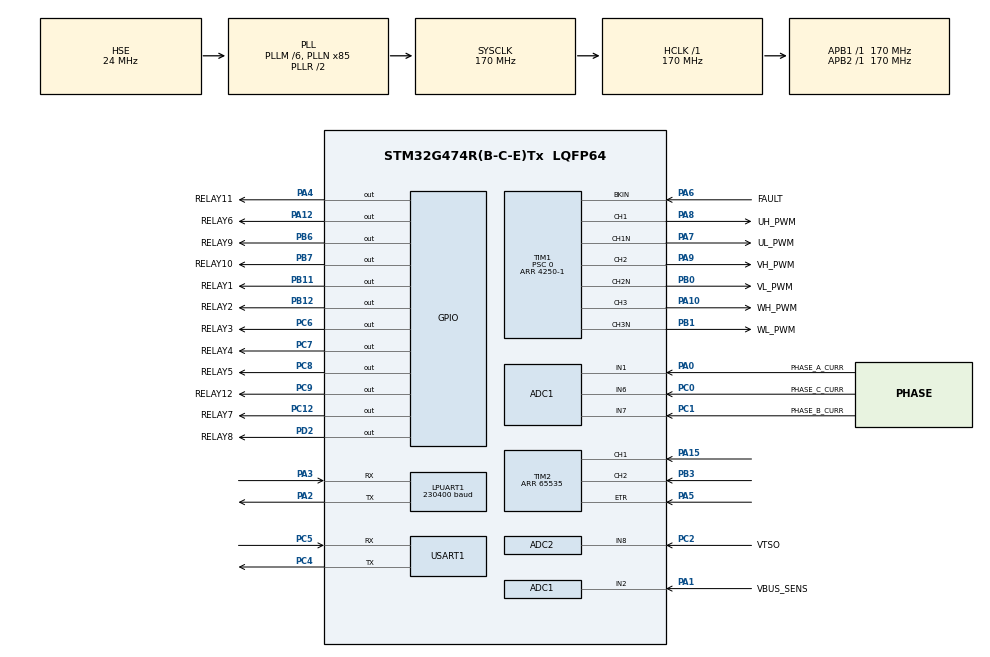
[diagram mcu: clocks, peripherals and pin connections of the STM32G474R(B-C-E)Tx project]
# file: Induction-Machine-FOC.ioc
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ADC1.EOCSelection=ADC_EOC_SEQ_CONV
ADC1.EnableInjectedConversion=ENABLE
ADC1.EnableRegularConversion=DISABLE
ADC1.ExternalTrigInjecConv=ADC_EXTERNALTRIGINJEC_T1_CC4
ADC1.ExternalTrigInjecConvEdge=ADC_EXTERNALTRIGINJECCONV_EDGE_FALLING
ADC1.InjNumberOfConversion=4
ADC1.InjectedChannel-6\#ChannelInjectedConversion=ADC_CHANNEL_1
ADC1.InjectedChannel-7\#ChannelInjectedConversion=ADC_CHANNEL_7
ADC1.InjectedChannel-8\#ChannelInjectedConversion=ADC_CHANNEL_6
ADC1.InjectedChannel-9\#ChannelInjectedConversion=ADC_CHANNEL_2
ADC1.InjectedOffsetNumber-6\#ChannelInjectedConversion=ADC_OFFSET_NONE
ADC1.InjectedOffsetNumber-7\#ChannelInjectedConversion=ADC_OFFSET_NONE
ADC1.InjectedOffsetNumber-8\#ChannelInjectedConversion=ADC_OFFSET_NONE
ADC1.InjectedOffsetNumber-9\#ChannelInjectedConversion=ADC_OFFSET_NONE
ADC1.InjectedRank-6\#ChannelInjectedConversion=1
ADC1.InjectedRank-7\#ChannelInjectedConversion=2
ADC1.InjectedRank-8\#ChannelInjectedConversion=3
ADC1.InjectedRank-9\#ChannelInjectedConversion=4
ADC1.InjectedSamplingTime-6\#ChannelInjectedConversion=ADC_SAMPLETIME_12CYCLES_5
ADC1.InjectedSamplingTime-7\#ChannelInjectedConversion=ADC_SAMPLETIME_12CYCLES_5
ADC1.InjectedSamplingTime-8\#ChannelInjectedConversion=ADC_SAMPLETIME_12CYCLES_5
ADC1.InjectedSamplingTime-9\#ChannelInjectedConversion=ADC_SAMPLETIME_12CYCLES_5
ADC1.Rank1_Channel=ADC_CHANNEL_1
ADC1.Rank2_Channel=ADC_CHANNEL_7
ADC1.Rank3_Channel=ADC_CHANNEL_6
ADC1.Rank4_Channel=ADC_CHANNEL_2
ADC1.master=1
ADC2.Channel-9\#ChannelRegularConversion=ADC_CHANNEL_8
ADC2.EOCSelection=ADC_EOC_SINGLE_CONV
ADC2.NbrOfConversionFlag=1
ADC2.OffsetNumber-9\#ChannelRegularConversion=ADC_OFFSET_NONE
ADC2.Overrun=ADC_OVR_DATA_OVERWRITTEN
ADC2.Rank-9\#ChannelRegularConversion=1
ADC2.SamplingTime-9\#ChannelRegularConversion=ADC_SAMPLETIME_640CYCLES_5
Dma.LPUART1_RX.0.Direction=DMA_PERIPH_TO_MEMORY
Dma.LPUART1_RX.0.EventEnable=DISABLE
Dma.LPUART1_RX.0.Instance=DMA1_Channel1
Dma.LPUART1_RX.0.MemDataAlignment=DMA_MDATAALIGN_BYTE
Dma.LPUART1_RX.0.MemInc=DMA_MINC_ENABLE
Dma.LPUART1_RX.0.Mode=DMA_CIRCULAR
Dma.LPUART1_RX.0.PeriphDataAlignment=DMA_PDATAALIGN_BYTE
Dma.LPUART1_RX.0.PeriphInc=DMA_PINC_DISABLE
Dma.LPUART1_RX.0.Polarity=HAL_DMAMUX_REQ_GEN_RISING
Dma.LPUART1_RX.0.Priority=DMA_PRIORITY_LOW
Dma.LPUART1_RX.0.RequestNumber=1
Dma.LPUART1_RX.0.SignalID=NONE
Dma.LPUART1_RX.0.SyncEnable=DISABLE
Dma.LPUART1_RX.0.SyncPolarity=HAL_DMAMUX_SYNC_NO_EVENT
Dma.LPUART1_RX.0.SyncRequestNumber=1
Dma.LPUART1_RX.0.SyncSignalID=NONE
Dma.LPUART1_TX.1.Direction=DMA_MEMORY_TO_PERIPH
Dma.LPUART1_TX.1.EventEnable=DISABLE
Dma.LPUART1_TX.1.Instance=DMA1_Channel2
Dma.LPUART1_TX.1.MemDataAlignment=DMA_MDATAALIGN_BYTE
Dma.LPUART1_TX.1.MemInc=DMA_MINC_ENABLE
Dma.LPUART1_TX.1.Mode=DMA_NORMAL
Dma.LPUART1_TX.1.PeriphDataAlignment=DMA_PDATAALIGN_BYTE
Dma.LPUART1_TX.1.PeriphInc=DMA_PINC_DISABLE
Dma.LPUART1_TX.1.Polarity=HAL_DMAMUX_REQ_GEN_RISING
Dma.LPUART1_TX.1.Priority=DMA_PRIORITY_LOW
Dma.LPUART1_TX.1.RequestNumber=1
Dma.LPUART1_TX.1.SignalID=NONE
Dma.LPUART1_TX.1.SyncEnable=DISABLE
Dma.LPUART1_TX.1.SyncPolarity=HAL_DMAMUX_SYNC_NO_EVENT
Dma.LPUART1_TX.1.SyncRequestNumber=1
Dma.LPUART1_TX.1.SyncSignalID=NONE
Dma.Request0=LPUART1_RX
Dma.Request1=LPUART1_TX
LPUART1.BaudRate=230400
Mcu.Family=STM32G4
Mcu.Name=STM32G474R(B-C-E)Tx
Mcu.Package=LQFP64
NVIC.ADC1_2_IRQn=true\:0\:0\:true\:false\:true\:true\:true\:true
NVIC.DMA1_Channel1_IRQn=true\:3\:0\:true\:false\:true\:false\:true\:true
NVIC.DMA1_Channel2_IRQn=true\:3\:0\:true\:false\:true\:false\:true\:true
NVIC.LPUART1_IRQn=true\:2\:0\:true\:false\:true\:true\:true\:true
NVIC.PriorityGroup=NVIC_PRIORITYGROUP_4
NVIC.RCC_IRQn=true\:0\:0\:false\:false\:true\:true\:false\:true
PA0.GPIO_Label=PHASE_A_CURR
PA0.Mode=IN1-Single-Ended
PA0.Signal=ADC1_IN1
PA1.GPIO_Label=VBUS_SENS
PA1.Mode=IN2-Single-Ended
PA1.Signal=ADC1_IN2
PA10.GPIO_Label=WH_PWM
PA10.Signal=S_TIM1_CH3
PA12.GPIO_Label=RELAY6
PA12.Signal=GPIO_Output
PA13.Mode=Serial_Wire
PA13.Signal=SYS_JTMS-SWDIO
PA14.Mode=Serial_Wire
PA14.Signal=SYS_JTCK-SWCLK
PA15.Signal=S_TIM2_CH1
PA2.Mode=Asynchronous
PA2.Signal=LPUART1_TX
PA3.Mode=Asynchronous
PA3.Signal=LPUART1_RX
PA4.GPIO_Label=RELAY11
PA4.Signal=GPIO_Output
PA5.Signal=S_TIM2_ETR
PA6.GPIO_Label=FAULT
PA6.GPIO_PuPd=GPIO_NOPULL
PA6.Mode=Activate-Break-Input
PA6.Signal=TIM1_BKIN
PA7.GPIO_Label=UL_PWM
PA7.Mode=PWM Generation1 CH1 CH1N
PA7.Signal=TIM1_CH1N
PA8.GPIO_Label=UH_PWM
PA8.Signal=S_TIM1_CH1
PA9.GPIO_Label=VH_PWM
PA9.Signal=S_TIM1_CH2
PB0.GPIO_Label=VL_PWM
PB0.Mode=PWM Generation2 CH2 CH2N
PB0.Signal=TIM1_CH2N
PB1.GPIO_Label=WL_PWM
PB1.Mode=PWM Generation3 CH3 CH3N
PB1.Signal=TIM1_CH3N
PB11.GPIO_Label=RELAY1
PB11.Signal=GPIO_Output
PB12.GPIO_Label=RELAY2
PB12.Signal=GPIO_Output
PB3.Signal=S_TIM2_CH2
PB6.GPIO_Label=RELAY9
PB6.Signal=GPIO_Output
PB7.GPIO_Label=RELAY10
PB7.Signal=GPIO_Output
PC0.GPIO_Label=PHASE_C_CURR
PC0.Mode=IN6-Single-Ended
PC0.Signal=ADC1_IN6
PC1.GPIO_Label=PHASE_B_CURR
PC1.Mode=IN7-Single-Ended
PC1.Signal=ADC1_IN7
PC12.GPIO_Label=RELAY7
PC12.Signal=GPIO_Output
PC2.GPIO_Label=VTSO
PC2.Mode=IN8-Single-Ended
PC2.Signal=ADC2_IN8
PC4.Mode=Asynchronous
PC4.Signal=USART1_TX
PC5.Mode=Asynchronous
PC5.Signal=USART1_RX
PC6.GPIO_Label=RELAY3
PC6.Signal=GPIO_Output
PC7.GPIO_Label=RELAY4
PC7.Signal=GPIO_Output
PC8.GPIO_Label=RELAY5
PC8.Signal=GPIO_Output
PC9.GPIO_Label=RELAY12
PC9.Signal=GPIO_Output
PD2.GPIO_Label=RELAY8
PD2.Signal=GPIO_Output
PF0-OSC_IN.Mode=HSE-External-Oscillator
PF0-OSC_IN.Signal=RCC_OSC_IN
PF1-OSC_OUT.Mode=HSE-External-Oscillator
PF1-OSC_OUT.Signal=RCC_OSC_OUT
ProjectManager.HeapSize=0x800
ProjectManager.StackSize=0x800
ProjectManager.TargetToolchain=CMake
RCC.ADC12Freq_Value=170000000
RCC.ADC345Freq_Value=170000000
RCC.AHBFreq_Value=170000000
RCC.APB1Freq_Value=170000000
RCC.APB1TimFreq_Value=170000000
RCC.APB2Freq_Value=170000000
RCC.APB2TimFreq_Value=170000000
RCC.CortexFreq_Value=170000000
RCC.EXTERNAL_CLOCK_VALUE=12288000
RCC.HCLKFreq_Value=170000000
RCC.HSE_VALUE=24000000
RCC.HSI48_VALUE=48000000
RCC.HSI_VALUE=16000000
RCC.LSE_VALUE=32768
RCC.PLLM=RCC_PLLM_DIV6
RCC.PLLN=85
RCC.PLLSourceVirtual=RCC_PLLSOURCE_HSE
RCC.RTCClockSelection=RCC_RTCCLKSOURCE_LSE
RCC.SYSCLKFreq_VALUE=170000000
RCC.SYSCLKSource=RCC_SYSCLKSOURCE_PLLCLK
RCC.USBFreq_Value=170000000
RCC.VCOOutputFreq_Value=340000000
SH.S_TIM1_CH1.0=TIM1_CH1,PWM Generation1 CH1 CH1N
SH.S_TIM1_CH2.0=TIM1_CH2,PWM Generation2 CH2 CH2N
SH.S_TIM1_CH3.0=TIM1_CH3,PWM Generation3 CH3 CH3N
SH.S_TIM2_CH1.0=TIM2_CH1,Encoder_Interface_w_index
SH.S_TIM2_CH2.0=TIM2_CH2,Encoder_Interface_w_index
SH.S_TIM2_ETR.0=TIM2_ETR,Encoder_Interface_w_index
STMicroelectronics.X-CUBE-AI.10.2.0.ActivationBufferSizeList=96
STMicroelectronics.X-CUBE-AI.10.2.0.ActivationBuffers=pool0
STMicroelectronics.X-CUBE-AI.10.2.0.ActivationNames=pool0
STMicroelectronics.X-CUBE-AI.10.2.0.ActivationSizes=AI_NETWORK_DATA_ACTIVATION_1_SIZE
STMicroelectronics.X-CUBE-AI.10.2.0.HeapSize=0x800
STMicroelectronics.X-CUBE-AI.10.2.0.InternalRamActivationBufferMaxSize=AI_NETWORK_DATA_ACTIVATIONS_SIZE
STMicroelectronics.X-CUBE-AI.10.2.0.LatestDirectoryUsed-ccd53641f8c50d33f3059c08e2cf8716ae3973f53e2ebd25febcf8b3750a0de1=/home/vardan/Projects/Polytech/Induction-Machine-NNPC/scripts/python/NN-Training/model
STMicroelectronics.X-CUBE-AI.10.2.0.MaximumNumberOfInputLayer=1
STMicroelectronics.X-CUBE-AI.10.2.0.MaximumNumberOfOutputLayer=1
STMicroelectronics.X-CUBE-AI.10.2.0.MaximumSizeOfInputLayer=1
STMicroelectronics.X-CUBE-AI.10.2.0.MaximumSizeOfOutputLayer=1
STMicroelectronics.X-CUBE-AI.10.2.0.ModelActualCompression-ccd53641f8c50d33f3059c08e2cf8716ae3973f53e2ebd25febcf8b3750a0de1=0.0
STMicroelectronics.X-CUBE-AI.10.2.0.ModelCompression-ccd53641f8c50d33f3059c08e2cf8716ae3973f53e2ebd25febcf8b3750a0de1=None
STMicroelectronics.X-CUBE-AI.10.2.0.ModelFlashOccupation-ccd53641f8c50d33f3059c08e2cf8716ae3973f53e2ebd25febcf8b3750a0de1=900
STMicroelectronics.X-CUBE-AI.10.2.0.ModelHashList=ccd53641f8c50d33f3059c08e2cf8716ae3973f53e2ebd25febcf8b3750a0de1
STMicroelectronics.X-CUBE-AI.10.2.0.ModelKind-ccd53641f8c50d33f3059c08e2cf8716ae3973f53e2ebd25febcf8b3750a0de1=TFLITE
STMicroelectronics.X-CUBE-AI.10.2.0.ModelMacc-ccd53641f8c50d33f3059c08e2cf8716ae3973f53e2ebd25febcf8b3750a0de1=465
STMicroelectronics.X-CUBE-AI.10.2.0.ModelName-ccd53641f8c50d33f3059c08e2cf8716ae3973f53e2ebd25febcf8b3750a0de1=network
STMicroelectronics.X-CUBE-AI.10.2.0.ModelNameList=network
STMicroelectronics.X-CUBE-AI.10.2.0.ModelRamOccupation-ccd53641f8c50d33f3059c08e2cf8716ae3973f53e2ebd25febcf8b3750a0de1=96
STMicroelectronics.X-CUBE-AI.10.2.0.ModelStructureFile-ccd53641f8c50d33f3059c08e2cf8716ae3973f53e2ebd25febcf8b3750a0de1=/home/vardan/Projects/Polytech/Induction-Machine-NNPC/scripts/python/NN-Training/model/iq_ff_float32.tflite
STMicroelectronics.X-CUBE-AI.10.2.0.ModelType-ccd53641f8c50d33f3059c08e2cf8716ae3973f53e2ebd25febcf8b3750a0de1=STM32Cube.AI MCU runtime
STMicroelectronics.X-CUBE-AI.10.2.0.ReadyForCodeGeneration=true
STMicroelectronics.X-CUBE-AI.10.2.0.StackSize=0x800
STMicroelectronics.X-CUBE-AI.10.2.0.WorkingBufferStartAddrList=0xFFFFFFFF
STMicroelectronics.X-CUBE-AI.10.2.0.XAaCUBEAaAICcArtificialOoIntelligenceJjCore=true
STMicroelectronics.X-CUBE-AI.10.2.0.copyWeightToRam=false
STMicroelectronics.X-CUBE-AI.10.2.0.copyWeightToRam-ccd53641f8c50d33f3059c08e2cf8716ae3973f53e2ebd25febcf8b3750a0de1=false
STMicroelectronics.X-CUBE-AI.10.2.0.customLayerConfigEnabled=false
STMicroelectronics.X-CUBE-AI.10.2.0.customLayerConfigEnabled-ccd53641f8c50d33f3059c08e2cf8716ae3973f53e2ebd25febcf8b3750a0de1=false
STMicroelectronics.X-CUBE-AI.10.2.0.noOnnxIoTranspose=false
STMicroelectronics.X-CUBE-AI.10.2.0.noOnnxIoTranspose-ccd53641f8c50d33f3059c08e2cf8716ae3973f53e2ebd25febcf8b3750a0de1=false
STMicroelectronics.X-CUBE-AI.10.2.0.optimization-ccd53641f8c50d33f3059c08e2cf8716ae3973f53e2ebd25febcf8b3750a0de1=time
STMicroelectronics.X-CUBE-AI.10.2.0.useInputAllocation=true
STMicroelectronics.X-CUBE-AI.10.2.0.useInputAllocation-ccd53641f8c50d33f3059c08e2cf8716ae3973f53e2ebd25febcf8b3750a0de1=true
STMicroelectronics.X-CUBE-AI.10.2.0.useOutputAllocation=true
STMicroelectronics.X-CUBE-AI.10.2.0.useOutputAllocation-ccd53641f8c50d33f3059c08e2cf8716ae3973f53e2ebd25febcf8b3750a0de1=true
TIM1.AutoReloadPreload=TIM_AUTORELOAD_PRELOAD_ENABLE
TIM1.AutomaticOutput=TIM_AUTOMATICOUTPUT_DISABLE
TIM1.BreakFilter=10
TIM1.BreakPolarity=TIM_BREAKPOLARITY_LOW
TIM1.BreakState=TIM_BREAK_ENABLE
TIM1.Channel-PWM\ Generation1\ CH1\ CH1N=TIM_CHANNEL_1
TIM1.Channel-PWM\ Generation2\ CH2\ CH2N=TIM_CHANNEL_2
TIM1.Channel-PWM\ Generation3\ CH3\ CH3N=TIM_CHANNEL_3
TIM1.Channel-PWM\ Generation4\ No\ Output=TIM_CHANNEL_4
TIM1.CounterMode=TIM_COUNTERMODE_CENTERALIGNED1
TIM1.DeadTime=160
TIM1.OCFastMode_PWM-PWM\ Generation1\ CH1\ CH1N=TIM_OCFAST_ENABLE
TIM1.OCFastMode_PWM-PWM\ Generation2\ CH2\ CH2N=TIM_OCFAST_ENABLE
TIM1.OCFastMode_PWM-PWM\ Generation3\ CH3\ CH3N=TIM_OCFAST_ENABLE
TIM1.OCFastMode_PWM-PWM\ Generation4\ No\ Output=TIM_OCFAST_ENABLE
TIM1.OCIdleState_2=TIM_OCIDLESTATE_RESET
TIM1.OCMode_PWM-PWM\ Generation4\ No\ Output=TIM_OCMODE_PWM1
TIM1.OCNIdleState_2=TIM_OCNIDLESTATE_RESET
TIM1.OffStateIDLEMode=TIM_OSSI_ENABLE
TIM1.OffStateRunMode=TIM_OSSR_ENABLE
TIM1.PeriodNoDither=4250-1
TIM1.Prescaler=0
TIM1.PulseNoDither_4=4248
TIM1.SourceBRKDigInput=TIM_BREAKINPUTSOURCE_ENABLE
TIM1.SourceBRKDigInputPolarity=TIM_BREAKINPUTSOURCE_POLARITY_HIGH
TIM1.TIM_MasterOutputTrigger=TIM_TRGO_OC4REF
TIM1.TIM_MasterSlaveMode=TIM_MASTERSLAVEMODE_DISABLE
TIM2.EncoderMode=TIM_ENCODERMODE_TI12
TIM2.IC1Filter=5
TIM2.IC2Filter=5
TIM2.IndexFilter=5
TIM2.IndexPosition=TIM_ENCODERINDEX_POSITION_11
TIM2.PeriodNoDither=65535
USART1.VirtualMode-Asynchronous=VM_ASYNC
VP_CORDIC_VS_CORDIC.Mode=CORDIC_Activate
VP_STMicroelectronics.X-CUBE-AI_VS_ArtificialOoIntelligenceJjXAaCUBEAaAI_10.2.0.Mode=ArtificialOoIntelligenceJjXAaCUBEAaAI
VP_SYS_VS_DBSignals.Mode=DisableDeadBatterySignals
VP_TIM1_VS_ClockSourceINT.Mode=Internal
VP_TIM1_VS_no_output4.Mode=PWM Generation4 No Output
board=NUCLEO-G474RE

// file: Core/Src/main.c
/* USER CODE BEGIN Header */
/**
  ******************************************************************************
  * @file           : main.c
  * @brief          : Main program body
  ******************************************************************************
  * @attention
  *
  * Copyright (c) 2026 STMicroelectronics.
  * All rights reserved.
  *
  * This software is licensed under terms that can be found in the LICENSE file
  * in the root directory of this software component.
  * If no LICENSE file comes with this software, it is provided AS-IS.
  *
  ******************************************************************************
  */
/* USER CODE END Header */
#include "main.h"

/* USER CODE BEGIN Includes */
#include "foc_control.h"
#include "stm32g474xx.h"
#include "stm32g4xx_hal.h"
#include "stm32g4xx_hal_adc.h"
#include "stm32g4xx_hal_adc_ex.h"
#include "stm32g4xx_hal_gpio.h"
#include "stm32g4xx_hal_uart.h"
#include "svpwm.h"
#include "encoder.h"
#include <stdio.h>
#include <string.h>
#include "foc_math.h"
#include "current_sense.h"
#include "serial_protocol.h"
#include "nn_iq_ff.h"
/* USER CODE END Includes */

/* USER CODE BEGIN PD */
#define DMA_BUFFER_SIZE  256
#define BUFF_LEN         DMA_BUFFER_SIZE

#define ADC_RESOLUTION   4095   // 2^12 - 1 for 12-bit ADC
#define VREF_MV          3300   // millivolts
#define ENCODER_PPR      2000U
#define MOTOR_POLE_PAIRS 2U
/* USER CODE END PD */

ADC_HandleTypeDef hadc1;
ADC_HandleTypeDef hadc2;

CORDIC_HandleTypeDef hcordic;

UART_HandleTypeDef hlpuart1;
UART_HandleTypeDef huart1;
DMA_HandleTypeDef hdma_lpuart1_rx;
DMA_HandleTypeDef hdma_lpuart1_tx;

TIM_HandleTypeDef htim1;
TIM_HandleTypeDef htim2;

/* USER CODE BEGIN PV */
const Motor_Parameters_t motor_params = {
    .Rs = 52.43f,         // Stator resistance (Ohms)
    .Rr = 45.4465f,       // Rotor resistance (Ohms)
    .Lm = 0.512f,         // Magnetizing inductance (H) — identified from no-load Vq test
    .Ls = 0.643f,         // Stator inductance (H) — solved from sigma_Ls=0.236 and Lm
    .Lr = 0.643f,         // Rotor inductance (H) — symmetric machine (Ls=Lr)
    .sigma_Ls = 0.236f,   // Transient inductance: (1 - Lm^2/(Ls*Lr)) * Ls — from short-circuit test
    .pole_pairs = 2,      // Number of pole pairs
    .Tr = 0.643f / 45.4465f, // Rotor time constant Lr/Rr = 14.1 ms (was 36ms with wrong Lr)
    .id_ref = 0.0f,       // Initial d-axis current reference (A)
    .iq_ref = 0.0f,       // Initial q-axis current reference (A)
    .id_max = 2.0f,       // Maximum d-axis current (A)
    .iq_max = 2.0f,       // Maximum q-axis current (A)
    .Ts = 1.0f / 20000.0f     // Control loop period (s)
};

Motor_Control_t motor_control = {0};

uint8_t run_foc_loop = 1; // Set to 0 to disable FOC during testing

/* Temperature Variable */
float temperature_VTSO = 0.0f;

/* Serial Protocol */
Proto_Handle_t proto = {0};
extern volatile float proto_speed_ref;
extern volatile float proto_id_ref;

Encoder_Handle_t encoder = {0};
CurSense_Data_t  currents = {0};

/* USER CODE END PV */

void SystemClock_Config(void);
static void MX_GPIO_Init(void);
static void MX_DMA_Init(void);
static void MX_CORDIC_Init(void);
static void MX_ADC1_Init(void);
static void MX_ADC2_Init(void);
static void MX_TIM2_Init(void);
static void MX_TIM1_Init(void);
static void MX_USART1_UART_Init(void);
static void MX_LPUART1_UART_Init(void);

/* USER CODE BEGIN 0 */
void send_telemetry(void) {
    /* Send telemetry at configured rate */
    if (proto.telem_divider > 0) {
        uint32_t now = HAL_GetTick();
        if (now - proto.telem_last_ms >= proto.telem_divider) {
            proto.telem_last_ms = now;
            Telemetry_Packet_t telem;
            telem.timestamp_ms = HAL_GetTick();
            if (run_foc_loop) {
                telem.id       = motor_control.i_dq.d;
                telem.iq       = motor_control.i_dq.q;
                telem.omega_m  = motor_control.omega_m;
                telem.ia       = currents.Ia;
                telem.ib       = currents.Ib;
                telem.ic       = currents.Ic;
                telem.theta_e     = motor_control.theta_e;
                telem.torque_e    = motor_control.torque_e;
                telem.imr         = motor_control.imr;
                telem.dwr_dt      = motor_control.dwr_dt;
                telem.iq_I_term   = motor_control.speed_controller.integral;
            } else {
                telem.id = telem.iq = 0.0f;
                telem.omega_m = 0.0f;
                telem.ia = telem.ib = telem.ic = 0.0f;
                telem.theta_e = telem.torque_e = 0.0f;
                telem.imr = telem.dwr_dt = 0.0f;
                telem.iq_I_term = 0.0f;
            }
            telem.vbus = currents.Vbus;
            Proto_SendTelemetry(&proto, &telem);
       }
    }
}

void PWM_START(void)
{
    HAL_TIM_PWM_Start(&htim1, TIM_CHANNEL_1 );
    HAL_TIM_PWM_Start(&htim1, TIM_CHANNEL_2 );
    HAL_TIM_PWM_Start(&htim1, TIM_CHANNEL_3 );
    // Complementary PWM outputs (REQUIRED for 3-phase inverter)
    HAL_TIMEx_PWMN_Start(&htim1, TIM_CHANNEL_1);  // CH1N (UL_PWM on PA7)
    HAL_TIMEx_PWMN_Start(&htim1, TIM_CHANNEL_2);  // CH2N (VL_PWM on PB0)
    HAL_TIMEx_PWMN_Start(&htim1, TIM_CHANNEL_3);  // CH3N (WL_PWM on PB1)

    HAL_TIM_PWM_Start(&htim1, TIM_CHANNEL_4 );
}

void PWM_STOP(void)
{
    HAL_TIM_PWM_Stop(&htim1, TIM_CHANNEL_1);
    HAL_TIM_PWM_Stop(&htim1, TIM_CHANNEL_2);
    HAL_TIM_PWM_Stop(&htim1, TIM_CHANNEL_3);

    HAL_TIMEx_PWMN_Stop(&htim1, TIM_CHANNEL_1);  // CH1N
    HAL_TIMEx_PWMN_Stop(&htim1, TIM_CHANNEL_2);  // CH2N
    HAL_TIMEx_PWMN_Stop(&htim1, TIM_CHANNEL_3);  // CH3N
}

float ADC_Measure_VTSO(void) {
    HAL_ADC_Start(&hadc2);
    if (HAL_ADC_PollForConversion(&hadc2, 200) == HAL_OK) {
        uint16_t adc_value = HAL_ADC_GetValue(&hadc2);
        // Calculate Voltage: V = (ADC / 4095) * 3.3V
        uint16_t voltage_mv = (adc_value * 3300) / 4095;

        // Calculate Temperature from Graph (Typ line):
        // y = kx + b; where k = 18.666666667f, b = 700 (mV at 0°C)
        temperature_VTSO = (voltage_mv - 700) / 18.666666667f; // in °C
    }
    //HAL_ADC_Stop(&hadc2);

    return temperature_VTSO;
}

void lock_test_current_sign_verification(void) {
    // Stop the FOC loop so it doesn't overwrite our voltage command
    run_foc_loop = 0;

    // Enable ADC IT so `currents` struct is continuously updated by the callback
    HAL_ADCEx_InjectedStart_IT(&hadc1);

    // Safety check: Don't apply high voltage.
    // Just 2 volts or a small fraction of your bus voltage
    float test_voltage = 20.0f;

    // Print values for 5 seconds
    for (int i = 0; i < 50; i++) {
        // Apply fixed voltage at 0 degrees.
        // This causes current to flow INTO Phase A (+), and OUT of Phase B (-) and C (-)
        open_loop_voltage_control(test_voltage, 0.0f, 0.0f);

        char buf[128];
        int len = snprintf(buf, sizeof(buf), "%.1f,%.3f,%.3f,%.3f\r\n", // voltage, Ia, Ib, Ic
                           test_voltage, currents.Ia, currents.Ib, currents.Ic);
        HAL_UART_Transmit(&hlpuart1, (uint8_t*)buf, len, HAL_MAX_DELAY);

        HAL_Delay(100);
    }

    // Stop generating voltage
    open_loop_voltage_control(0.0f, 0.0f, 0.0f);
    HAL_ADCEx_InjectedStop_IT(&hadc1);
    run_foc_loop = 0; // Re-enable FOC logic for normal operation later
}

/* USER CODE END 0 */

int main(void)
{

  /* MCU Configuration--------------------------------------------------------*/

  /* Reset of all peripherals, Initializes the Flash interface and the Systick. */
  HAL_Init();

  /* Configure the system clock */
  SystemClock_Config();

  /* Initialize all configured peripherals */
  MX_GPIO_Init();
  MX_DMA_Init();
  MX_CORDIC_Init();
  MX_ADC1_Init();
  MX_ADC2_Init();
  MX_TIM2_Init();
  MX_TIM1_Init();
  MX_USART1_UART_Init();
  MX_LPUART1_UART_Init();
  /* USER CODE BEGIN 2 */
  SVPWM_Config_t svpwm_config = {
      .min_duty_window = 0.15f,  // 15% minimum duty for valid shunt
      .trigger_offset = 0.15f,   // 15% offset → ~510 ticks → ~2μs settling after dead-time
      .pwm_period_ticks = PWM_PERIOD_TICKS
  };
  SVPWM_Init(&svpwm_config);

  NN_IqFF_Init();   /* Must be before any NN_IqFF_Run() call */

  // HAL_GPIO_WritePin(GPIOC, GPIO_PIN_9, GPIO_PIN_SET);
  // float ff = NN_IqFF_Run(50, 52, 17, 0.49);
  // HAL_GPIO_WritePin(GPIOC, GPIO_PIN_9, GPIO_PIN_RESET);

  Encoder_Init(&encoder, &htim2, 2000);

  CurrentSense_Init();
  CurrentSense_Calibrate();

  HAL_ADCEx_InjectedStop(&hadc1);
  HAL_ADCEx_InjectedStart_IT(&hadc1);
  // HAL_ADC_Start_IT(&hadc2);
  Encoder_Start(&encoder);

  Motor_Init(&motor_params, &motor_control);

  // PWM_START();

  Proto_Init(&proto, &hlpuart1);
  Proto_StartReceive(&proto);

  /* Disable DMA RX half-transfer & transfer-complete interrupts — we poll */
  __HAL_DMA_DISABLE_IT(hlpuart1.hdmarx, DMA_IT_HT | DMA_IT_TC);

  // svpwm_test();
  // PWM_STOP();

  /* USER CODE END 2 */

  /* Infinite loop */
  while (1)
  {

    /* USER CODE BEGIN 3 */

    /* Poll DMA circular buffer for incoming protocol frames */
    Proto_Poll(&proto);

    /* Asynchronous NN feedforward — runs inference outside the ISR.
     * The FOC ISR copies 4 inputs and sets nn_pending_flag every 200 cycles;
     * we execute NN_IqFF_Run() here where the ~60 µs latency is harmless. */
    if (nn_pending_flag) {
        float w   = nn_input_omega_m;
        float wr  = nn_input_omega_ref;
        float dw  = nn_input_dwr_dt;
        float im  = nn_input_imr;
        nn_pending_flag = 0U;

        float ff = NN_IqFF_Run(w, wr, dw, im);
        float iq_lim = motor_params.iq_max * 0.5f;
        if (ff >  iq_lim) ff =  iq_lim;
        if (ff < -iq_lim) ff = -iq_lim;
        motor_control.iq_ff = ff;
    }

    /* Temperature watchdog at 1 Hz (ADC2 polled, not interrupt-driven) */
    static uint32_t temp_last_ms = 0;
    uint32_t now_temp = HAL_GetTick();
    if (now_temp - temp_last_ms >= 1000U) {
        temp_last_ms = now_temp;
        if (ADC_Measure_VTSO() > 100.0f) {
            PWM_STOP();
        }
    }

    send_telemetry();

    // char buf [64];
    // int len =  sprintf(buf, "%.2f,%.2f, %.2f\r\n", currents.Ia, currents.Ib, currents.Ic);
    // HAL_UART_Transmit(&hlpuart1, (uint8_t*)buf, len, 1);

  }
  /* USER CODE END 3 */
}

void SystemClock_Config(void)
{
  RCC_OscInitTypeDef RCC_OscInitStruct = {0};
  RCC_ClkInitTypeDef RCC_ClkInitStruct = {0};

  /** Configure the main internal regulator output voltage
  */
  HAL_PWREx_ControlVoltageScaling(PWR_REGULATOR_VOLTAGE_SCALE1_BOOST);

  /** Initializes the RCC Oscillators according to the specified parameters
  * in the RCC_OscInitTypeDef structure.
  */
  RCC_OscInitStruct.OscillatorType = RCC_OSCILLATORTYPE_HSE;
  RCC_OscInitStruct.HSEState = RCC_HSE_ON;
  RCC_OscInitStruct.PLL.PLLState = RCC_PLL_ON;
  RCC_OscInitStruct.PLL.PLLSource = RCC_PLLSOURCE_HSE;
  RCC_OscInitStruct.PLL.PLLM = RCC_PLLM_DIV6;
  RCC_OscInitStruct.PLL.PLLN = 85;
  RCC_OscInitStruct.PLL.PLLP = RCC_PLLP_DIV2;
  RCC_OscInitStruct.PLL.PLLQ = RCC_PLLQ_DIV2;
  RCC_OscInitStruct.PLL.PLLR = RCC_PLLR_DIV2;
  if (HAL_RCC_OscConfig(&RCC_OscInitStruct) != HAL_OK)
  {
    Error_Handler();
  }

  /** Initializes the CPU, AHB and APB buses clocks
  */
  RCC_ClkInitStruct.ClockType = RCC_CLOCKTYPE_HCLK|RCC_CLOCKTYPE_SYSCLK
                              |RCC_CLOCKTYPE_PCLK1|RCC_CLOCKTYPE_PCLK2;
  RCC_ClkInitStruct.SYSCLKSource = RCC_SYSCLKSOURCE_PLLCLK;
  RCC_ClkInitStruct.AHBCLKDivider = RCC_SYSCLK_DIV1;
  RCC_ClkInitStruct.APB1CLKDivider = RCC_HCLK_DIV1;
  RCC_ClkInitStruct.APB2CLKDivider = RCC_HCLK_DIV1;

  if (HAL_RCC_ClockConfig(&RCC_ClkInitStruct, FLASH_LATENCY_4) != HAL_OK)
  {
    Error_Handler();
  }
}

static void MX_ADC1_Init(void)
{

  ADC_MultiModeTypeDef multimode = {0};
  ADC_InjectionConfTypeDef sConfigInjected = {0};

  /** Common config
  */
  hadc1.Instance = ADC1;
  hadc1.Init.ClockPrescaler = ADC_CLOCK_SYNC_PCLK_DIV4;
  hadc1.Init.Resolution = ADC_RESOLUTION_12B;
  hadc1.Init.DataAlign = ADC_DATAALIGN_RIGHT;
  hadc1.Init.GainCompensation = 0;
  hadc1.Init.ScanConvMode = ADC_SCAN_ENABLE;
  hadc1.Init.EOCSelection = ADC_EOC_SEQ_CONV;
  hadc1.Init.LowPowerAutoWait = DISABLE;
  hadc1.Init.ContinuousConvMode = DISABLE;
  hadc1.Init.NbrOfConversion = 1;
  hadc1.Init.DiscontinuousConvMode = DISABLE;
  hadc1.Init.DMAContinuousRequests = DISABLE;
  hadc1.Init.Overrun = ADC_OVR_DATA_PRESERVED;
  hadc1.Init.OversamplingMode = DISABLE;
  if (HAL_ADC_Init(&hadc1) != HAL_OK)
  {
    Error_Handler();
  }

  /** Configure the ADC multi-mode
  */
  multimode.Mode = ADC_MODE_INDEPENDENT;
  if (HAL_ADCEx_MultiModeConfigChannel(&hadc1, &multimode) != HAL_OK)
  {
    Error_Handler();
  }

  /** Configure Injected Channel
  */
  sConfigInjected.InjectedChannel = ADC_CHANNEL_1;
  sConfigInjected.InjectedRank = ADC_INJECTED_RANK_1;
  sConfigInjected.InjectedSamplingTime = ADC_SAMPLETIME_12CYCLES_5;
  sConfigInjected.InjectedSingleDiff = ADC_SINGLE_ENDED;
  sConfigInjected.InjectedOffsetNumber = ADC_OFFSET_NONE;
  sConfigInjected.InjectedOffset = 0;
  sConfigInjected.InjectedNbrOfConversion = 4;
  sConfigInjected.InjectedDiscontinuousConvMode = DISABLE;
  sConfigInjected.AutoInjectedConv = DISABLE;
  sConfigInjected.QueueInjectedContext = DISABLE;
  sConfigInjected.ExternalTrigInjecConv = ADC_EXTERNALTRIGINJEC_T1_CC4;
  sConfigInjected.ExternalTrigInjecConvEdge = ADC_EXTERNALTRIGINJECCONV_EDGE_FALLING;
  sConfigInjected.InjecOversamplingMode = DISABLE;
  if (HAL_ADCEx_InjectedConfigChannel(&hadc1, &sConfigInjected) != HAL_OK)
  {
    Error_Handler();
  }

  /** Configure Injected Channel
  */
  sConfigInjected.InjectedChannel = ADC_CHANNEL_7;
  sConfigInjected.InjectedRank = ADC_INJECTED_RANK_2;
  if (HAL_ADCEx_InjectedConfigChannel(&hadc1, &sConfigInjected) != HAL_OK)
  {
    Error_Handler();
  }

  /** Configure Injected Channel
  */
  sConfigInjected.InjectedChannel = ADC_CHANNEL_6;
  sConfigInjected.InjectedRank = ADC_INJECTED_RANK_3;
  if (HAL_ADCEx_InjectedConfigChannel(&hadc1, &sConfigInjected) != HAL_OK)
  {
    Error_Handler();
  }

  /** Configure Injected Channel
  */
  sConfigInjected.InjectedChannel = ADC_CHANNEL_2;
  sConfigInjected.InjectedRank = ADC_INJECTED_RANK_4;
  if (HAL_ADCEx_InjectedConfigChannel(&hadc1, &sConfigInjected) != HAL_OK)
  {
    Error_Handler();
  }

}

static void MX_ADC2_Init(void)
{

  ADC_ChannelConfTypeDef sConfig = {0};

  /** Common config
  */
  hadc2.Instance = ADC2;
  hadc2.Init.ClockPrescaler = ADC_CLOCK_SYNC_PCLK_DIV4;
  hadc2.Init.Resolution = ADC_RESOLUTION_12B;
  hadc2.Init.DataAlign = ADC_DATAALIGN_RIGHT;
  hadc2.Init.GainCompensation = 0;
  hadc2.Init.ScanConvMode = ADC_SCAN_DISABLE;
  hadc2.Init.EOCSelection = ADC_EOC_SINGLE_CONV;
  hadc2.Init.LowPowerAutoWait = DISABLE;
  hadc2.Init.ContinuousConvMode = DISABLE;
  hadc2.Init.NbrOfConversion = 1;
  hadc2.Init.DiscontinuousConvMode = DISABLE;
  hadc2.Init.ExternalTrigConv = ADC_SOFTWARE_START;
  hadc2.Init.ExternalTrigConvEdge = ADC_EXTERNALTRIGCONVEDGE_NONE;
  hadc2.Init.DMAContinuousRequests = DISABLE;
  hadc2.Init.Overrun = ADC_OVR_DATA_OVERWRITTEN;
  hadc2.Init.OversamplingMode = DISABLE;
  if (HAL_ADC_Init(&hadc2) != HAL_OK)
  {
    Error_Handler();
  }

  /** Configure Regular Channel
  */
  sConfig.Channel = ADC_CHANNEL_8;
  sConfig.Rank = ADC_REGULAR_RANK_1;
  sConfig.SamplingTime = ADC_SAMPLETIME_640CYCLES_5;
  sConfig.SingleDiff = ADC_SINGLE_ENDED;
  sConfig.OffsetNumber = ADC_OFFSET_NONE;
  sConfig.Offset = 0;
  if (HAL_ADC_ConfigChannel(&hadc2, &sConfig) != HAL_OK)
  {
    Error_Handler();
  }

}

static void MX_CORDIC_Init(void)
{

  hcordic.Instance = CORDIC;
  if (HAL_CORDIC_Init(&hcordic) != HAL_OK)
  {
    Error_Handler();
  }
  /* USER CODE BEGIN CORDIC_Init 2 */

  // Configure CORDIC for sine calculation (optimized for motor control)
  CORDIC_ConfigTypeDef sCordicConfig;
  sCordicConfig.Function = CORDIC_FUNCTION_SINE;      // Sine function
  sCordicConfig.Precision = CORDIC_PRECISION_6CYCLES; // 6 cycles = 24 iterations
  sCordicConfig.Scale = CORDIC_SCALE_0;               // No scaling
  sCordicConfig.NbWrite = CORDIC_NBWRITE_1;           // 1 input (angle only)
  sCordicConfig.NbRead = CORDIC_NBREAD_1;             // 1 output (sine only)
  sCordicConfig.InSize = CORDIC_INSIZE_32BITS;        // 32-bit input
  sCordicConfig.OutSize = CORDIC_OUTSIZE_32BITS;      // 32-bit output

  if (HAL_CORDIC_Configure(&hcordic, &sCordicConfig) != HAL_OK)
  {
    Error_Handler();
  }

  /* USER CODE END CORDIC_Init 2 */

}

static void MX_LPUART1_UART_Init(void)
{

  hlpuart1.Instance = LPUART1;
  hlpuart1.Init.BaudRate = 230400;
  hlpuart1.Init.WordLength = UART_WORDLENGTH_8B;
  hlpuart1.Init.StopBits = UART_STOPBITS_1;
  hlpuart1.Init.Parity = UART_PARITY_NONE;
  hlpuart1.Init.Mode = UART_MODE_TX_RX;
  hlpuart1.Init.HwFlowCtl = UART_HWCONTROL_NONE;
  hlpuart1.Init.OneBitSampling = UART_ONE_BIT_SAMPLE_DISABLE;
  hlpuart1.Init.ClockPrescaler = UART_PRESCALER_DIV1;
  hlpuart1.AdvancedInit.AdvFeatureInit = UART_ADVFEATURE_NO_INIT;
  if (HAL_UART_Init(&hlpuart1) != HAL_OK)
  {
    Error_Handler();
  }
  if (HAL_UARTEx_SetTxFifoThreshold(&hlpuart1, UART_TXFIFO_THRESHOLD_1_8) != HAL_OK)
  {
    Error_Handler();
  }
  if (HAL_UARTEx_SetRxFifoThreshold(&hlpuart1, UART_RXFIFO_THRESHOLD_1_8) != HAL_OK)
  {
    Error_Handler();
  }
  if (HAL_UARTEx_DisableFifoMode(&hlpuart1) != HAL_OK)
  {
    Error_Handler();
  }

}

static void MX_USART1_UART_Init(void)
{

  huart1.Instance = USART1;
  huart1.Init.BaudRate = 115200;
  huart1.Init.WordLength = UART_WORDLENGTH_8B;
  huart1.Init.StopBits = UART_STOPBITS_1;
  huart1.Init.Parity = UART_PARITY_NONE;
  huart1.Init.Mode = UART_MODE_TX_RX;
  huart1.Init.HwFlowCtl = UART_HWCONTROL_NONE;
  huart1.Init.OverSampling = UART_OVERSAMPLING_16;
  huart1.Init.OneBitSampling = UART_ONE_BIT_SAMPLE_DISABLE;
  huart1.Init.ClockPrescaler = UART_PRESCALER_DIV1;
  huart1.AdvancedInit.AdvFeatureInit = UART_ADVFEATURE_NO_INIT;
  if (HAL_UART_Init(&huart1) != HAL_OK)
  {
    Error_Handler();
  }
  if (HAL_UARTEx_SetTxFifoThreshold(&huart1, UART_TXFIFO_THRESHOLD_1_8) != HAL_OK)
  {
    Error_Handler();
  }
  if (HAL_UARTEx_SetRxFifoThreshold(&huart1, UART_RXFIFO_THRESHOLD_1_8) != HAL_OK)
  {
    Error_Handler();
  }
  if (HAL_UARTEx_DisableFifoMode(&huart1) != HAL_OK)
  {
    Error_Handler();
  }

}

static void MX_TIM1_Init(void)
{

  TIM_ClockConfigTypeDef sClockSourceConfig = {0};
  TIM_MasterConfigTypeDef sMasterConfig = {0};
  TIMEx_BreakInputConfigTypeDef sBreakInputConfig = {0};
  TIM_OC_InitTypeDef sConfigOC = {0};
  TIM_BreakDeadTimeConfigTypeDef sBreakDeadTimeConfig = {0};

  htim1.Instance = TIM1;
  htim1.Init.Prescaler = 0;
  htim1.Init.CounterMode = TIM_COUNTERMODE_CENTERALIGNED1;
  htim1.Init.Period = 4249;
  htim1.Init.ClockDivision = TIM_CLOCKDIVISION_DIV1;
  htim1.Init.RepetitionCounter = 0;
  htim1.Init.AutoReloadPreload = TIM_AUTORELOAD_PRELOAD_ENABLE;
  if (HAL_TIM_Base_Init(&htim1) != HAL_OK)
  {
    Error_Handler();
  }
  sClockSourceConfig.ClockSource = TIM_CLOCKSOURCE_INTERNAL;
  if (HAL_TIM_ConfigClockSource(&htim1, &sClockSourceConfig) != HAL_OK)
  {
    Error_Handler();
  }
  if (HAL_TIM_PWM_Init(&htim1) != HAL_OK)
  {
    Error_Handler();
  }
  sMasterConfig.MasterOutputTrigger = TIM_TRGO_OC4REF;
  sMasterConfig.MasterOutputTrigger2 = TIM_TRGO2_RESET;
  sMasterConfig.MasterSlaveMode = TIM_MASTERSLAVEMODE_DISABLE;
  if (HAL_TIMEx_MasterConfigSynchronization(&htim1, &sMasterConfig) != HAL_OK)
  {
    Error_Handler();
  }
  sBreakInputConfig.Source = TIM_BREAKINPUTSOURCE_BKIN;
  sBreakInputConfig.Enable = TIM_BREAKINPUTSOURCE_ENABLE;
  sBreakInputConfig.Polarity = TIM_BREAKINPUTSOURCE_POLARITY_HIGH;
  if (HAL_TIMEx_ConfigBreakInput(&htim1, TIM_BREAKINPUT_BRK, &sBreakInputConfig) != HAL_OK)
  {
    Error_Handler();
  }
  sConfigOC.OCMode = TIM_OCMODE_PWM1;
  sConfigOC.Pulse = 0;
  sConfigOC.OCPolarity = TIM_OCPOLARITY_HIGH;
  sConfigOC.OCNPolarity = TIM_OCNPOLARITY_HIGH;
  sConfigOC.OCFastMode = TIM_OCFAST_ENABLE;
  sConfigOC.OCIdleState = TIM_OCIDLESTATE_RESET;
  sConfigOC.OCNIdleState = TIM_OCNIDLESTATE_RESET;
  if (HAL_TIM_PWM_ConfigChannel(&htim1, &sConfigOC, TIM_CHANNEL_1) != HAL_OK)
  {
    Error_Handler();
  }
  if (HAL_TIM_PWM_ConfigChannel(&htim1, &sConfigOC, TIM_CHANNEL_2) != HAL_OK)
  {
    Error_Handler();
  }
  if (HAL_TIM_PWM_ConfigChannel(&htim1, &sConfigOC, TIM_CHANNEL_3) != HAL_OK)
  {
    Error_Handler();
  }
  sConfigOC.Pulse = 4248;
  if (HAL_TIM_PWM_ConfigChannel(&htim1, &sConfigOC, TIM_CHANNEL_4) != HAL_OK)
  {
    Error_Handler();
  }
  sBreakDeadTimeConfig.OffStateRunMode = TIM_OSSR_ENABLE;
  sBreakDeadTimeConfig.OffStateIDLEMode = TIM_OSSI_ENABLE;
  sBreakDeadTimeConfig.LockLevel = TIM_LOCKLEVEL_OFF;
  sBreakDeadTimeConfig.DeadTime = 160;
  sBreakDeadTimeConfig.BreakState = TIM_BREAK_ENABLE;
  sBreakDeadTimeConfig.BreakPolarity = TIM_BREAKPOLARITY_LOW;
  sBreakDeadTimeConfig.BreakFilter = 10;
  sBreakDeadTimeConfig.BreakAFMode = TIM_BREAK_AFMODE_INPUT;
  sBreakDeadTimeConfig.Break2State = TIM_BREAK2_DISABLE;
  sBreakDeadTimeConfig.Break2Polarity = TIM_BREAK2POLARITY_HIGH;
  sBreakDeadTimeConfig.Break2Filter = 0;
  sBreakDeadTimeConfig.Break2AFMode = TIM_BREAK_AFMODE_INPUT;
  sBreakDeadTimeConfig.AutomaticOutput = TIM_AUTOMATICOUTPUT_DISABLE;
  if (HAL_TIMEx_ConfigBreakDeadTime(&htim1, &sBreakDeadTimeConfig) != HAL_OK)
  {
    Error_Handler();
  }
  HAL_TIM_MspPostInit(&htim1);

}

static void MX_TIM2_Init(void)
{

  TIM_Encoder_InitTypeDef sConfig = {0};
  TIM_MasterConfigTypeDef sMasterConfig = {0};
  TIMEx_EncoderIndexConfigTypeDef sEncoderIndexConfig = {0};

  htim2.Instance = TIM2;
  htim2.Init.Prescaler = 0;
  htim2.Init.CounterMode = TIM_COUNTERMODE_UP;
  htim2.Init.Period = 65535;
  htim2.Init.ClockDivision = TIM_CLOCKDIVISION_DIV1;
  htim2.Init.AutoReloadPreload = TIM_AUTORELOAD_PRELOAD_DISABLE;
  sConfig.EncoderMode = TIM_ENCODERMODE_TI12;
  sConfig.IC1Polarity = TIM_ICPOLARITY_RISING;
  sConfig.IC1Selection = TIM_ICSELECTION_DIRECTTI;
  sConfig.IC1Prescaler = TIM_ICPSC_DIV1;
  sConfig.IC1Filter = 5;
  sConfig.IC2Polarity = TIM_ICPOLARITY_RISING;
  sConfig.IC2Selection = TIM_ICSELECTION_DIRECTTI;
  sConfig.IC2Prescaler = TIM_ICPSC_DIV1;
  sConfig.IC2Filter = 5;
  if (HAL_TIM_Encoder_Init(&htim2, &sConfig) != HAL_OK)
  {
    Error_Handler();
  }
  sMasterConfig.MasterOutputTrigger = TIM_TRGO_RESET;
  sMasterConfig.MasterSlaveMode = TIM_MASTERSLAVEMODE_DISABLE;
  if (HAL_TIMEx_MasterConfigSynchronization(&htim2, &sMasterConfig) != HAL_OK)
  {
    Error_Handler();
  }
  sEncoderIndexConfig.Polarity = TIM_ENCODERINDEX_POLARITY_NONINVERTED;
  sEncoderIndexConfig.Prescaler = TIM_ENCODERINDEX_PRESCALER_DIV1;
  sEncoderIndexConfig.Filter = 5;
  sEncoderIndexConfig.FirstIndexEnable = DISABLE;
  sEncoderIndexConfig.Position = TIM_ENCODERINDEX_POSITION_11;
  sEncoderIndexConfig.Direction = TIM_ENCODERINDEX_DIRECTION_UP_DOWN;
  if (HAL_TIMEx_ConfigEncoderIndex(&htim2, &sEncoderIndexConfig) != HAL_OK)
  {
    Error_Handler();
  }

}

static void MX_DMA_Init(void)
{

  /* DMA controller clock enable */
  __HAL_RCC_DMAMUX1_CLK_ENABLE();
  __HAL_RCC_DMA1_CLK_ENABLE();

  /* DMA interrupt init */
  /* DMA1_Channel1_IRQn interrupt configuration */
  HAL_NVIC_SetPriority(DMA1_Channel1_IRQn, 3, 0);
  HAL_NVIC_EnableIRQ(DMA1_Channel1_IRQn);
  /* DMA1_Channel2_IRQn interrupt configuration */
  HAL_NVIC_SetPriority(DMA1_Channel2_IRQn, 3, 0);
  HAL_NVIC_EnableIRQ(DMA1_Channel2_IRQn);

}

static void MX_GPIO_Init(void)
{
  GPIO_InitTypeDef GPIO_InitStruct = {0};

  /* GPIO Ports Clock Enable */
  __HAL_RCC_GPIOC_CLK_ENABLE();
  __HAL_RCC_GPIOF_CLK_ENABLE();
  __HAL_RCC_GPIOG_CLK_ENABLE();
  __HAL_RCC_GPIOA_CLK_ENABLE();
  __HAL_RCC_GPIOB_CLK_ENABLE();
  __HAL_RCC_GPIOD_CLK_ENABLE();

  /*Configure GPIO pin Output Level */
  HAL_GPIO_WritePin(GPIOA, RELAY11_Pin|RELAY6_Pin, GPIO_PIN_RESET);

  /*Configure GPIO pin Output Level */
  HAL_GPIO_WritePin(GPIOB, RELAY1_Pin|RELAY2_Pin|RELAY9_Pin|RELAY10_Pin, GPIO_PIN_RESET);

  /*Configure GPIO pin Output Level */
  HAL_GPIO_WritePin(GPIOC, RELAY3_Pin|RELAY4_Pin|RELAY5_Pin|RELAY12_Pin
                          |RELAY7_Pin, GPIO_PIN_RESET);

  /*Configure GPIO pin Output Level */
  HAL_GPIO_WritePin(RELAY8_GPIO_Port, RELAY8_Pin, GPIO_PIN_RESET);

  /*Configure GPIO pins : PC13 PC14 PC15 PC3
                           PC10 PC11 */
  GPIO_InitStruct.Pin = GPIO_PIN_13|GPIO_PIN_14|GPIO_PIN_15|GPIO_PIN_3
                          |GPIO_PIN_10|GPIO_PIN_11;
  GPIO_InitStruct.Mode = GPIO_MODE_ANALOG;
  GPIO_InitStruct.Pull = GPIO_NOPULL;
  HAL_GPIO_Init(GPIOC, &GPIO_InitStruct);

  /*Configure GPIO pin : PG10 */
  GPIO_InitStruct.Pin = GPIO_PIN_10;
  GPIO_InitStruct.Mode = GPIO_MODE_ANALOG;
  GPIO_InitStruct.Pull = GPIO_NOPULL;
  HAL_GPIO_Init(GPIOG, &GPIO_InitStruct);

  /*Configure GPIO pins : RELAY11_Pin RELAY6_Pin */
  GPIO_InitStruct.Pin = RELAY11_Pin|RELAY6_Pin;
  GPIO_InitStruct.Mode = GPIO_MODE_OUTPUT_PP;
  GPIO_InitStruct.Pull = GPIO_NOPULL;
  GPIO_InitStruct.Speed = GPIO_SPEED_FREQ_LOW;
  HAL_GPIO_Init(GPIOA, &GPIO_InitStruct);

  /*Configure GPIO pins : PB2 PB10 PB13 PB14
                           PB15 PB4 PB5 PB8
                           PB9 */
  GPIO_InitStruct.Pin = GPIO_PIN_2|GPIO_PIN_10|GPIO_PIN_13|GPIO_PIN_14
                          |GPIO_PIN_15|GPIO_PIN_4|GPIO_PIN_5|GPIO_PIN_8
                          |GPIO_PIN_9;
  GPIO_InitStruct.Mode = GPIO_MODE_ANALOG;
  GPIO_InitStruct.Pull = GPIO_NOPULL;
  HAL_GPIO_Init(GPIOB, &GPIO_InitStruct);

  /*Configure GPIO pins : RELAY1_Pin RELAY2_Pin RELAY9_Pin RELAY10_Pin */
  GPIO_InitStruct.Pin = RELAY1_Pin|RELAY2_Pin|RELAY9_Pin|RELAY10_Pin;
  GPIO_InitStruct.Mode = GPIO_MODE_OUTPUT_PP;
  GPIO_InitStruct.Pull = GPIO_NOPULL;
  GPIO_InitStruct.Speed = GPIO_SPEED_FREQ_LOW;
  HAL_GPIO_Init(GPIOB, &GPIO_InitStruct);

  /*Configure GPIO pins : RELAY3_Pin RELAY4_Pin RELAY5_Pin RELAY12_Pin
                           RELAY7_Pin */
  GPIO_InitStruct.Pin = RELAY3_Pin|RELAY4_Pin|RELAY5_Pin|RELAY12_Pin
                          |RELAY7_Pin;
  GPIO_InitStruct.Mode = GPIO_MODE_OUTPUT_PP;
  GPIO_InitStruct.Pull = GPIO_NOPULL;
  GPIO_InitStruct.Speed = GPIO_SPEED_FREQ_LOW;
  HAL_GPIO_Init(GPIOC, &GPIO_InitStruct);

  /*Configure GPIO pin : PA11 */
  GPIO_InitStruct.Pin = GPIO_PIN_11;
  GPIO_InitStruct.Mode = GPIO_MODE_ANALOG;
  GPIO_InitStruct.Pull = GPIO_NOPULL;
  HAL_GPIO_Init(GPIOA, &GPIO_InitStruct);

  /*Configure GPIO pin : RELAY8_Pin */
  GPIO_InitStruct.Pin = RELAY8_Pin;
  GPIO_InitStruct.Mode = GPIO_MODE_OUTPUT_PP;
  GPIO_InitStruct.Pull = GPIO_NOPULL;
  GPIO_InitStruct.Speed = GPIO_SPEED_FREQ_LOW;
  HAL_GPIO_Init(RELAY8_GPIO_Port, &GPIO_InitStruct);

}

/* USER CODE BEGIN 4 */

void HAL_ADCEx_InjectedConvCpltCallback(ADC_HandleTypeDef *hadc)
{
    if (hadc->Instance != ADC1) {
        return;
    }

    // Better approach with shunt selection:
    static SVPWM_Output_t last_svpwm = {0};

    // Set PC9 high
    // HAL_GPIO_WritePin(GPIOC, GPIO_PIN_9, GPIO_PIN_SET);

    currents = CurrentSense_ReadWithShuntSelection(last_svpwm.shunt1, last_svpwm.shunt2);
    // currents = CurrentSense_Read();
    Encoder_Update(&encoder,1/20000.0f); // 20 kHz sampling rate
    float theta_m = Encoder_GetMechanicalAngleRad(&encoder);
    float omega_m = Encoder_GetSpeedRadPerSec(&encoder);

    if (run_foc_loop) {
        SVPWM_Output_t new_svpwm = {0};
        FOC_Control_Loop(&motor_control, &motor_params,
                          currents.Ia, currents.Ib,
                          proto_id_ref, proto_speed_ref,
                          theta_m, omega_m, currents.Vbus, &new_svpwm);

        PWM_WriteCompareShadow(new_svpwm.duty_a, new_svpwm.duty_b, new_svpwm.duty_c, new_svpwm.trigger_point);
        // Store for next cycle
        last_svpwm = new_svpwm;
    }

    // char buf[64];
    // sprintf(buf, "%.0f,%.0f,%.0f,%.0f\r\n", new_svpwm.duty_a * PWM_PERIOD_TICKS, new_svpwm.duty_b * PWM_PERIOD_TICKS, new_svpwm.duty_c * PWM_PERIOD_TICKS, theta_m);
    // HAL_UART_Transmit(&hlpuart1, (uint8_t*)buf, strlen(buf), HAL_MAX_DELAY);

    // Set PC9 low
    // HAL_GPIO_WritePin(GPIOC, GPIO_PIN_9, GPIO_PIN_RESET);
}

void HAL_ADC_ConvCpltCallback(ADC_HandleTypeDef *hadc) {
    if (hadc->Instance != ADC2) {
        return;
    }
    // Read VTSO temperature
    if (ADC_Measure_VTSO() > 100.0f) {
        PWM_STOP();
    }
}
/* USER CODE END 4 */

void Error_Handler(void)
{
  __disable_irq();
  while (1)
  {
  }
}
